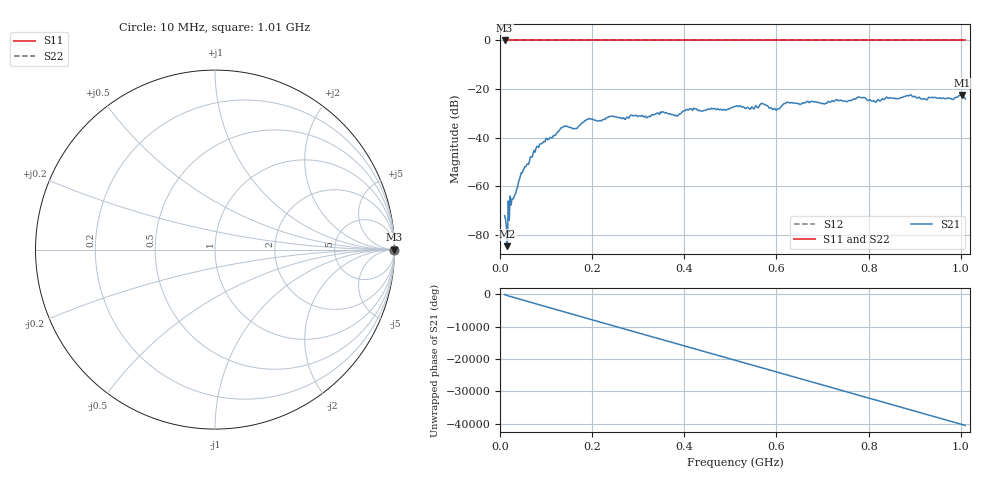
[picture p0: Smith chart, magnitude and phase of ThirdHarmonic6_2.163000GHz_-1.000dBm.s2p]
! 8/17/2025 1:49:08 AM
! C:\ANRITSUVNA\TEMP\TEMP.S2P
! CHANNEL.1
! TR.MEASUREMENT
! RAW.DATA
! RF.CORRECTION.OFF
! AVERAGING.OFF
! IF.BANDWIDTH: 5KHZ
! SWEEPTYPE:  FREQ.SWEEP(Linear)
! Reference Plane Port Info
! PORT:  PORT1  PORT2
! DISTANCE:  0  m  0  m
! TIME:  0  s  0  s
! PHASE.OFFSET:  0  deg.  0  deg.
! LOSS:  0  dB  0  dB
! REF.LOSS:  0  dB  0  dB
! REF.FREQ:  0  Hz  0  Hz
! Power Info
! POWER:  -20  dBm  -20  dBm
! EFF.POWER:  -20  dBm  -20  dBm
! SOURCE.ATTEN:  0  dB  0  dB
! TEST.ATTEN:  0  dB  0  dB
# GHZ S RI R 50.0
! FREQ.GHZ  S11RE  S11IM  S21RE  S21IM  S12RE  S12IM  S22RE  S22IM
!; PortSelection: Port_12
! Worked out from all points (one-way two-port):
!   501 points, 10 MHz to 1.01 GHz, reference 50 ohm
!   highest |S21| = -22.37 dB at 1.002 GHz (marker M1); lowest = -84.6 dB at 16 MHz (marker M2)
!   lowest |S11| = 0.0 dB at 10 MHz (marker M3)
!   |S11| at or under -10 dB: nowhere
!   |S22| runs from 0.0 to 0.0 dB; largest |S21 - S12| = 1.1
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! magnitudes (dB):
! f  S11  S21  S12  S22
! 10 MHz  0.0  -72.0  0.0  0.0
! 16 MHz  0.0  -84.6  0.0  0.0
! 22 MHz  0.0  -63.9  0.0  0.0
! 34 MHz  0.0  -62.9  0.0  0.0
! 44 MHz  0.0  -55.9  0.0  0.0
! 78 MHz  0.0  -44.4  0.0  0.0
! 136 MHz  0.0  -35.8  0.0  0.0
! 162 MHz  0.0  -36.3  0.0  0.0
! 178 MHz  0.0  -33.8  0.0  0.0
! 194 MHz  0.0  -32.1  0.0  0.0
! 344 MHz  0.0  -29.8  0.0  0.0
! 382 MHz  0.0  -30.7  0.0  0.0
! 410 MHz  0.0  -28.5  0.0  0.0
! 510 MHz  0.0  -27.2  0.0  0.0
! 546 MHz  0.0  -27.3  0.0  0.0
! 570 MHz  0.0  -26.0  0.0  0.0
! 602 MHz  0.0  -28.1  0.0  0.0
! 622 MHz  0.0  -25.4  0.0  0.0
! 678 MHz  0.0  -25.1  0.0  0.0
! 844 MHz  0.0  -23.8  0.0  0.0
! 1.002 GHz  0.0  -22.4  0.0  0.0
! 1.01 GHz  0.0  -24.0  0.0  0.0
